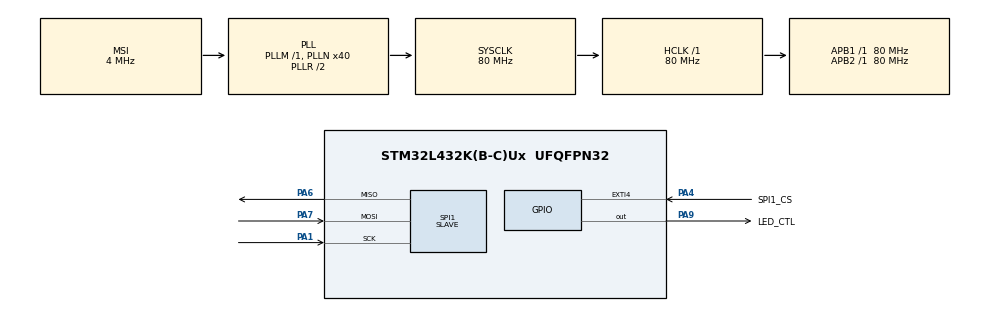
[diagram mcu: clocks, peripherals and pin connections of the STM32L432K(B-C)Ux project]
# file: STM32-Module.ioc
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Mcu.Family=STM32L4
Mcu.Name=STM32L432K(B-C)Ux
Mcu.Package=UFQFPN32
NVIC.EXTI4_IRQn=true\:0\:0\:false\:false\:true\:true\:true\:true
NVIC.PriorityGroup=NVIC_PRIORITYGROUP_4
PA1.GPIO_PuPd=GPIO_PULLUP
PA1.Mode=Full_Duplex_Slave
PA1.Signal=SPI1_SCK
PA4.GPIO_Label=SPI1_CS
PA4.GPIO_ModeDefaultEXTI=GPIO_MODE_IT_FALLING
PA4.GPIO_PuPd=GPIO_NOPULL
PA4.Signal=GPXTI4
PA6.GPIO_PuPd=GPIO_PULLDOWN
PA6.Mode=Full_Duplex_Slave
PA6.Signal=SPI1_MISO
PA7.GPIO_PuPd=GPIO_PULLDOWN
PA7.Mode=Full_Duplex_Slave
PA7.Signal=SPI1_MOSI
PA9.GPIO_Label=LED_CTL
PA9.Signal=GPIO_Output
ProjectManager.HeapSize=0x200
ProjectManager.StackSize=0x400
ProjectManager.TargetToolchain=STM32CubeIDE
RCC.AHBFreq_Value=80000000
RCC.APB1Freq_Value=80000000
RCC.APB1TimFreq_Value=80000000
RCC.APB2Freq_Value=80000000
RCC.APB2TimFreq_Value=80000000
RCC.CortexFreq_Value=80000000
RCC.HCLKFreq_Value=80000000
RCC.HSE_VALUE=8000000
RCC.HSI48_VALUE=48000000
RCC.HSI_VALUE=16000000
RCC.LSE_VALUE=32768
RCC.MSI_VALUE=4000000
RCC.PLLN=40
RCC.SYSCLKFreq_VALUE=80000000
RCC.SYSCLKSource=RCC_SYSCLKSOURCE_PLLCLK
RCC.VCOOutputFreq_Value=160000000
SPI1.DataSize=SPI_DATASIZE_8BIT
SPI1.Direction=SPI_DIRECTION_2LINES
SPI1.Mode=SPI_MODE_SLAVE
SPI1.VirtualType=VM_SLAVE
board=custom

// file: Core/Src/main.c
/* USER CODE BEGIN Header */
/**
  ******************************************************************************
  * @file           : main.c
  * @brief          : Main program body
  ******************************************************************************
  * @attention
  *
  * Copyright (c) 2025 STMicroelectronics.
  * All rights reserved.
  *
  * This software is licensed under terms that can be found in the LICENSE file
  * in the root directory of this software component.
  * If no LICENSE file comes with this software, it is provided AS-IS.
  *
  ******************************************************************************
  */
/* USER CODE END Header */
#include "main.h"

/* USER CODE BEGIN Includes */
#include "esp32_spi_driver.h"
/* USER CODE END Includes */

SPI_HandleTypeDef hspi1;

/* USER CODE BEGIN PV */
Esp32_SpiHandle esp32_spihandle;
/* USER CODE END PV */

void SystemClock_Config(void);
static void MX_GPIO_Init(void);
static void MX_SPI1_Init(void);

int main(void)
{

  /* MCU Configuration--------------------------------------------------------*/

  /* Reset of all peripherals, Initializes the Flash interface and the Systick. */
  HAL_Init();

  /* Configure the system clock */
  SystemClock_Config();

  /* Initialize all configured peripherals */
  MX_GPIO_Init();
  MX_SPI1_Init();
  /* USER CODE BEGIN 2 */
  init_esp32_spihandle(&esp32_spihandle, &hspi1, SPI1_CS_Pin);
  /* USER CODE END 2 */

  /* Infinite loop */
  /* USER CODE BEGIN WHILE */
  for (int i = 0; i < 5; i++) {
	  HAL_GPIO_WritePin(LED_CTL_GPIO_Port, LED_CTL_Pin, GPIO_PIN_SET);
	  HAL_Delay(100);
	  HAL_GPIO_WritePin(LED_CTL_GPIO_Port, LED_CTL_Pin, GPIO_PIN_RESET);
	  HAL_Delay(100);
  }

  HAL_GPIO_WritePin(LED_CTL_GPIO_Port, LED_CTL_Pin, GPIO_PIN_SET);
  HAL_Delay(500);
  HAL_GPIO_WritePin(LED_CTL_GPIO_Port, LED_CTL_Pin, GPIO_PIN_RESET);

  while (1)
  {
	  HAL_Delay(100);
    /* USER CODE END WHILE */

  }
}

void SystemClock_Config(void)
{
  RCC_OscInitTypeDef RCC_OscInitStruct = {0};
  RCC_ClkInitTypeDef RCC_ClkInitStruct = {0};

  /** Configure the main internal regulator output voltage
  */
  if (HAL_PWREx_ControlVoltageScaling(PWR_REGULATOR_VOLTAGE_SCALE1) != HAL_OK)
  {
    Error_Handler();
  }

  /** Initializes the RCC Oscillators according to the specified parameters
  * in the RCC_OscInitTypeDef structure.
  */
  RCC_OscInitStruct.OscillatorType = RCC_OSCILLATORTYPE_MSI;
  RCC_OscInitStruct.MSIState = RCC_MSI_ON;
  RCC_OscInitStruct.MSICalibrationValue = 0;
  RCC_OscInitStruct.MSIClockRange = RCC_MSIRANGE_6;
  RCC_OscInitStruct.PLL.PLLState = RCC_PLL_ON;
  RCC_OscInitStruct.PLL.PLLSource = RCC_PLLSOURCE_MSI;
  RCC_OscInitStruct.PLL.PLLM = 1;
  RCC_OscInitStruct.PLL.PLLN = 40;
  RCC_OscInitStruct.PLL.PLLP = RCC_PLLP_DIV7;
  RCC_OscInitStruct.PLL.PLLQ = RCC_PLLQ_DIV2;
  RCC_OscInitStruct.PLL.PLLR = RCC_PLLR_DIV2;
  if (HAL_RCC_OscConfig(&RCC_OscInitStruct) != HAL_OK)
  {
    Error_Handler();
  }

  /** Initializes the CPU, AHB and APB buses clocks
  */
  RCC_ClkInitStruct.ClockType = RCC_CLOCKTYPE_HCLK|RCC_CLOCKTYPE_SYSCLK
                              |RCC_CLOCKTYPE_PCLK1|RCC_CLOCKTYPE_PCLK2;
  RCC_ClkInitStruct.SYSCLKSource = RCC_SYSCLKSOURCE_PLLCLK;
  RCC_ClkInitStruct.AHBCLKDivider = RCC_SYSCLK_DIV1;
  RCC_ClkInitStruct.APB1CLKDivider = RCC_HCLK_DIV1;
  RCC_ClkInitStruct.APB2CLKDivider = RCC_HCLK_DIV1;

  if (HAL_RCC_ClockConfig(&RCC_ClkInitStruct, FLASH_LATENCY_4) != HAL_OK)
  {
    Error_Handler();
  }
}

static void MX_SPI1_Init(void)
{

  /* SPI1 parameter configuration*/
  hspi1.Instance = SPI1;
  hspi1.Init.Mode = SPI_MODE_SLAVE;
  hspi1.Init.Direction = SPI_DIRECTION_2LINES;
  hspi1.Init.DataSize = SPI_DATASIZE_8BIT;
  hspi1.Init.CLKPolarity = SPI_POLARITY_LOW;
  hspi1.Init.CLKPhase = SPI_PHASE_1EDGE;
  hspi1.Init.NSS = SPI_NSS_SOFT;
  hspi1.Init.FirstBit = SPI_FIRSTBIT_MSB;
  hspi1.Init.TIMode = SPI_TIMODE_DISABLE;
  hspi1.Init.CRCCalculation = SPI_CRCCALCULATION_DISABLE;
  hspi1.Init.CRCPolynomial = 7;
  hspi1.Init.CRCLength = SPI_CRC_LENGTH_DATASIZE;
  hspi1.Init.NSSPMode = SPI_NSS_PULSE_DISABLE;
  if (HAL_SPI_Init(&hspi1) != HAL_OK)
  {
    Error_Handler();
  }

}

static void MX_GPIO_Init(void)
{
  GPIO_InitTypeDef GPIO_InitStruct = {0};

  /* GPIO Ports Clock Enable */
  __HAL_RCC_GPIOA_CLK_ENABLE();

  /*Configure GPIO pin Output Level */
  HAL_GPIO_WritePin(LED_CTL_GPIO_Port, LED_CTL_Pin, GPIO_PIN_RESET);

  /*Configure GPIO pin : SPI1_CS_Pin */
  GPIO_InitStruct.Pin = SPI1_CS_Pin;
  GPIO_InitStruct.Mode = GPIO_MODE_IT_FALLING;
  GPIO_InitStruct.Pull = GPIO_NOPULL;
  HAL_GPIO_Init(SPI1_CS_GPIO_Port, &GPIO_InitStruct);

  /*Configure GPIO pin : LED_CTL_Pin */
  GPIO_InitStruct.Pin = LED_CTL_Pin;
  GPIO_InitStruct.Mode = GPIO_MODE_OUTPUT_PP;
  GPIO_InitStruct.Pull = GPIO_NOPULL;
  GPIO_InitStruct.Speed = GPIO_SPEED_FREQ_LOW;
  HAL_GPIO_Init(LED_CTL_GPIO_Port, &GPIO_InitStruct);

  /* EXTI interrupt init*/
  HAL_NVIC_SetPriority(EXTI4_IRQn, 0, 0);
  HAL_NVIC_EnableIRQ(EXTI4_IRQn);

}

/* USER CODE BEGIN 4 */
void HAL_GPIO_EXTI_Callback(uint16_t GPIO_Pin) {
	switch (GPIO_Pin) {
		case SPI1_CS_Pin:
			HAL_StatusTypeDef err = esp32_spi_read_cmd(&esp32_spihandle, 100);

			if (err != HAL_OK) {
				break;
			}

			switch (esp32_spihandle.cmd_buffer[0] & 0xFF) {
				case 0x00:
					HAL_GPIO_WritePin(LED_CTL_GPIO_Port, LED_CTL_Pin, GPIO_PIN_RESET);
					break;
				case 0x01:
					HAL_GPIO_WritePin(LED_CTL_GPIO_Port, LED_CTL_Pin, GPIO_PIN_SET);
					break;
				case 0x02:
					GPIO_PinState status = HAL_GPIO_ReadPin(LED_CTL_GPIO_Port, LED_CTL_Pin);
					esp32_spihandle.miso_buffer[0] = (uint8_t)status;

					err = esp32_spi_send_data(&esp32_spihandle, 1, HAL_MAX_DELAY);

					if (err != HAL_OK) {
						break;
					}

					break;
				default:
					break;
			}

			break;
		default:
			break;
	}
}
/* USER CODE END 4 */

void Error_Handler(void)
{
  __disable_irq();
  while (1)
  {
  }
}
